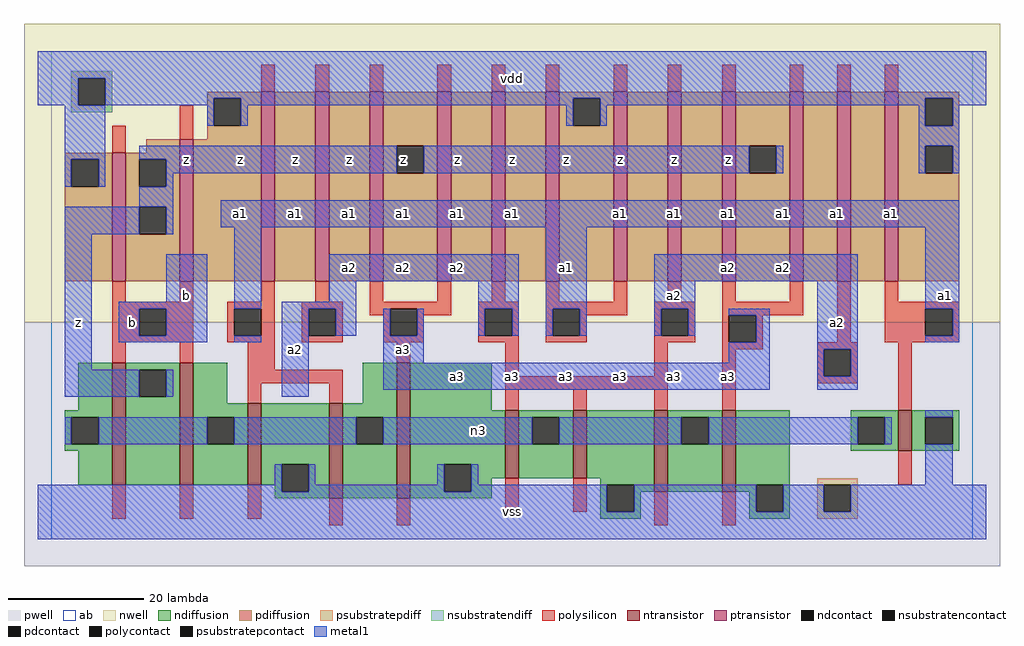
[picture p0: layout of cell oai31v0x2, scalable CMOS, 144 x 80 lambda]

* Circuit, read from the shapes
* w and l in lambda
.subckt oai31v0x2 a1 a2 a3 b n3 vdd vss z
M1 z b n3 vss nfet w=18 l=2 m=2
M2 vss a1 n3 vss nfet w=12 l=2
M3 n3 a1 vss vss nfet w=14 l=2
M4 vss a3 n3 vss nfet w=20 l=2
M5 n3 a2 vss vss nfet w=10 l=2 m=2
M6 n3 a2 vss vss nfet w=12 l=2
M7 vss a3 n3 vss nfet w=12 l=2
M8 vss a1 n3 vss nfet w=6 l=2
M9 z b vdd vdd pfet w=19 l=2
M10 vdd b z vdd pfet w=21 l=2
M11 n1 a1 vdd vdd pfet w=28 l=2
M12 n2 a2 n1 vdd pfet w=28 l=2
M13 z a3 n2 vdd pfet w=28 l=2
M14 n4 a3 z vdd pfet w=28 l=2
M15 n5 a2 n4 vdd pfet w=28 l=2
M16 vdd a1 n5 vdd pfet w=28 l=2
M17 n6 a1 vdd vdd pfet w=28 l=2
M18 n7 a2 n6 vdd pfet w=28 l=2
M19 z a3 n7 vdd pfet w=28 l=2
M20 n8 a3 z vdd pfet w=28 l=2
M21 n9 a2 n8 vdd pfet w=28 l=2
M22 vdd a1 n9 vdd pfet w=28 l=2
.ends

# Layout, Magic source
magic
tech scmos
<< ab >>
rect 0 0 136 72
<< pwell >>
rect -4 -4 140 32
<< nwell >>
rect -4 32 140 76
<< polysilicon >>
rect 31 66 33 70
rect 39 66 41 70
rect 47 66 49 70
rect 57 66 59 70
rect 65 66 67 70
rect 73 66 75 70
rect 83 66 85 70
rect 91 66 93 70
rect 99 66 101 70
rect 109 66 111 70
rect 116 66 118 70
rect 123 66 125 70
rect 9 57 11 61
rect 19 59 21 64
rect 9 35 11 38
rect 19 35 21 38
rect 31 35 33 38
rect 39 35 41 38
rect 47 35 49 38
rect 57 35 59 38
rect 65 35 67 38
rect 73 35 75 38
rect 83 35 85 38
rect 91 35 93 38
rect 99 35 101 38
rect 109 35 111 38
rect 9 34 21 35
rect 9 30 13 34
rect 17 30 21 34
rect 9 29 21 30
rect 26 34 33 35
rect 26 30 27 34
rect 31 30 33 34
rect 26 29 33 30
rect 37 34 43 35
rect 37 30 38 34
rect 42 30 43 34
rect 47 34 59 35
rect 47 33 50 34
rect 37 29 43 30
rect 49 30 50 33
rect 54 33 59 34
rect 63 34 69 35
rect 54 30 55 33
rect 49 29 55 30
rect 63 30 64 34
rect 68 30 69 34
rect 63 29 69 30
rect 73 34 85 35
rect 73 30 74 34
rect 78 33 85 34
rect 89 34 95 35
rect 78 30 79 33
rect 73 29 79 30
rect 89 30 90 34
rect 94 30 95 34
rect 89 29 95 30
rect 99 33 111 35
rect 99 29 100 33
rect 104 29 105 33
rect 116 29 118 38
rect 123 35 125 38
rect 123 34 134 35
rect 123 30 129 34
rect 133 30 134 34
rect 123 29 134 30
rect 9 26 11 29
rect 19 26 21 29
rect 29 25 33 29
rect 51 26 53 29
rect 29 23 43 25
rect 29 20 31 23
rect 41 20 43 23
rect 9 3 11 8
rect 19 3 21 8
rect 29 3 31 8
rect 67 24 69 29
rect 89 24 91 29
rect 67 22 91 24
rect 67 19 69 22
rect 77 19 79 22
rect 89 19 91 22
rect 99 28 105 29
rect 113 28 119 29
rect 99 19 101 28
rect 113 24 114 28
rect 118 24 119 28
rect 113 23 119 24
rect 125 19 127 29
rect 41 2 43 6
rect 51 2 53 6
rect 67 4 69 9
rect 77 4 79 9
rect 89 2 91 7
rect 99 2 101 7
rect 125 8 127 13
<< ndiffusion >>
rect 4 19 9 26
rect 2 18 9 19
rect 2 14 3 18
rect 7 14 9 18
rect 2 13 9 14
rect 4 8 9 13
rect 11 25 19 26
rect 11 21 13 25
rect 17 21 19 25
rect 11 8 19 21
rect 21 20 26 26
rect 46 20 51 26
rect 21 18 29 20
rect 21 14 23 18
rect 27 14 29 18
rect 21 8 29 14
rect 31 11 41 20
rect 31 8 34 11
rect 33 7 34 8
rect 38 7 41 11
rect 33 6 41 7
rect 43 18 51 20
rect 43 14 45 18
rect 49 14 51 18
rect 43 6 51 14
rect 53 19 65 26
rect 53 11 67 19
rect 53 7 58 11
rect 62 9 67 11
rect 69 18 77 19
rect 69 14 71 18
rect 75 14 77 18
rect 69 9 77 14
rect 79 9 89 19
rect 62 7 65 9
rect 53 6 65 7
rect 81 8 89 9
rect 81 4 82 8
rect 86 7 89 8
rect 91 18 99 19
rect 91 14 93 18
rect 97 14 99 18
rect 91 7 99 14
rect 101 8 109 19
rect 118 18 125 19
rect 118 14 119 18
rect 123 14 125 18
rect 118 13 125 14
rect 127 18 134 19
rect 127 14 129 18
rect 133 14 134 18
rect 127 13 134 14
rect 101 7 104 8
rect 86 4 87 7
rect 81 3 87 4
rect 103 4 104 7
rect 108 4 109 8
rect 103 3 109 4
<< pdiffusion >>
rect 23 65 31 66
rect 23 61 24 65
rect 28 61 31 65
rect 23 59 31 61
rect 14 57 19 59
rect 2 56 9 57
rect 2 52 3 56
rect 7 52 9 56
rect 2 38 9 52
rect 11 56 19 57
rect 11 52 13 56
rect 17 52 19 56
rect 11 49 19 52
rect 11 45 13 49
rect 17 45 19 49
rect 11 38 19 45
rect 21 38 31 59
rect 33 38 39 66
rect 41 38 47 66
rect 49 58 57 66
rect 49 54 51 58
rect 55 54 57 58
rect 49 38 57 54
rect 59 38 65 66
rect 67 38 73 66
rect 75 65 83 66
rect 75 61 77 65
rect 81 61 83 65
rect 75 38 83 61
rect 85 38 91 66
rect 93 38 99 66
rect 101 58 109 66
rect 101 54 103 58
rect 107 54 109 58
rect 101 38 109 54
rect 111 38 116 66
rect 118 38 123 66
rect 125 65 134 66
rect 125 61 129 65
rect 133 61 134 65
rect 125 58 134 61
rect 125 54 129 58
rect 133 54 134 58
rect 125 38 134 54
<< metal1 >>
rect -2 68 138 72
rect -2 64 4 68
rect 8 65 138 68
rect 8 64 24 65
rect 2 56 8 64
rect 23 61 24 64
rect 28 64 77 65
rect 28 61 29 64
rect 76 61 77 64
rect 81 64 129 65
rect 81 61 82 64
rect 128 61 129 64
rect 133 64 138 65
rect 133 61 134 64
rect 128 58 134 61
rect 2 52 3 56
rect 7 52 8 56
rect 13 56 51 58
rect 17 54 51 56
rect 55 54 103 58
rect 107 54 108 58
rect 128 54 129 58
rect 133 54 134 58
rect 17 52 18 54
rect 13 49 18 52
rect 2 45 13 49
rect 17 45 18 49
rect 25 46 134 50
rect 2 25 6 45
rect 17 35 23 42
rect 10 34 23 35
rect 10 30 13 34
rect 17 30 23 34
rect 10 29 23 30
rect 27 34 31 46
rect 41 38 69 42
rect 41 35 45 38
rect 27 29 31 30
rect 34 34 45 35
rect 63 34 69 38
rect 2 21 13 25
rect 17 21 18 25
rect 34 21 38 34
rect 42 30 45 34
rect 49 30 50 34
rect 54 30 55 34
rect 63 30 64 34
rect 68 30 69 34
rect 73 34 79 46
rect 73 30 74 34
rect 78 30 79 34
rect 89 38 119 42
rect 89 34 95 38
rect 89 30 90 34
rect 94 30 95 34
rect 100 33 106 34
rect 49 26 55 30
rect 104 29 106 33
rect 100 26 106 29
rect 49 22 106 26
rect 113 28 119 38
rect 129 34 134 46
rect 133 30 134 34
rect 129 29 134 30
rect 113 24 114 28
rect 118 24 119 28
rect 113 22 119 24
rect 129 18 133 19
rect 2 14 3 18
rect 7 14 23 18
rect 27 14 45 18
rect 49 14 71 18
rect 75 14 93 18
rect 97 14 119 18
rect 123 14 124 18
rect 33 8 34 11
rect -2 7 34 8
rect 38 8 39 11
rect 57 8 58 11
rect 38 7 58 8
rect 62 8 63 11
rect 129 8 133 14
rect 62 7 82 8
rect -2 4 82 7
rect 86 4 104 8
rect 108 4 114 8
rect 118 4 138 8
rect -2 0 138 4
<< ntransistor >>
rect 9 8 11 26
rect 19 8 21 26
rect 29 8 31 20
rect 41 6 43 20
rect 51 6 53 26
rect 67 9 69 19
rect 77 9 79 19
rect 89 7 91 19
rect 99 7 101 19
rect 125 13 127 19
<< ptransistor >>
rect 9 38 11 57
rect 19 38 21 59
rect 31 38 33 66
rect 39 38 41 66
rect 47 38 49 66
rect 57 38 59 66
rect 65 38 67 66
rect 73 38 75 66
rect 83 38 85 66
rect 91 38 93 66
rect 99 38 101 66
rect 109 38 111 66
rect 116 38 118 66
rect 123 38 125 66
<< polycontact >>
rect 13 30 17 34
rect 27 30 31 34
rect 38 30 42 34
rect 50 30 54 34
rect 64 30 68 34
rect 74 30 78 34
rect 90 30 94 34
rect 100 29 104 33
rect 129 30 133 34
rect 114 24 118 28
<< ndcontact >>
rect 3 14 7 18
rect 13 21 17 25
rect 23 14 27 18
rect 34 7 38 11
rect 45 14 49 18
rect 58 7 62 11
rect 71 14 75 18
rect 82 4 86 8
rect 93 14 97 18
rect 119 14 123 18
rect 129 14 133 18
rect 104 4 108 8
<< pdcontact >>
rect 24 61 28 65
rect 3 52 7 56
rect 13 52 17 56
rect 13 45 17 49
rect 51 54 55 58
rect 77 61 81 65
rect 103 54 107 58
rect 129 61 133 65
rect 129 54 133 58
<< psubstratepcontact >>
rect 114 4 118 8
<< nsubstratencontact >>
rect 4 64 8 68
<< psubstratepdiff >>
rect 113 8 119 9
rect 113 4 114 8
rect 118 4 119 8
rect 113 3 119 4
<< nsubstratendiff >>
rect 3 68 9 69
rect 3 64 4 68
rect 8 64 9 68
rect 3 63 9 64
<< labels >>
rlabel metal1 12 32 12 32 6 b
rlabel metal1 4 32 4 32 6 z
rlabel metal1 20 36 20 36 6 b
rlabel metal1 20 56 20 56 6 z
rlabel metal1 36 28 36 28 6 a2
rlabel metal1 44 40 44 40 6 a2
rlabel metal1 28 48 28 48 6 a1
rlabel metal1 36 48 36 48 6 a1
rlabel metal1 44 48 44 48 6 a1
rlabel metal1 36 56 36 56 6 z
rlabel metal1 44 56 44 56 6 z
rlabel metal1 28 56 28 56 6 z
rlabel metal1 68 4 68 4 6 vss
rlabel metal1 60 24 60 24 6 a3
rlabel metal1 68 24 68 24 6 a3
rlabel metal1 76 24 76 24 6 a3
rlabel metal1 52 28 52 28 6 a3
rlabel metal1 52 40 52 40 6 a2
rlabel metal1 76 40 76 40 6 a1
rlabel metal1 60 40 60 40 6 a2
rlabel metal1 52 48 52 48 6 a1
rlabel metal1 60 48 60 48 6 a1
rlabel metal1 68 48 68 48 6 a1
rlabel metal1 60 56 60 56 6 z
rlabel metal1 68 56 68 56 6 z
rlabel metal1 76 56 76 56 6 z
rlabel pdcontact 52 56 52 56 6 z
rlabel metal1 68 68 68 68 6 vdd
rlabel metal1 84 24 84 24 6 a3
rlabel metal1 100 24 100 24 6 a3
rlabel metal1 92 24 92 24 6 a3
rlabel metal1 100 40 100 40 6 a2
rlabel metal1 108 40 108 40 6 a2
rlabel metal1 92 36 92 36 6 a2
rlabel metal1 84 48 84 48 6 a1
rlabel metal1 100 48 100 48 6 a1
rlabel metal1 108 48 108 48 6 a1
rlabel metal1 92 48 92 48 6 a1
rlabel metal1 100 56 100 56 6 z
rlabel metal1 92 56 92 56 6 z
rlabel metal1 84 56 84 56 6 z
rlabel metal1 63 16 63 16 6 n3
rlabel metal1 116 32 116 32 6 a2
rlabel metal1 132 36 132 36 6 a1
rlabel metal1 116 48 116 48 6 a1
rlabel metal1 124 48 124 48 6 a1
<< end >>
